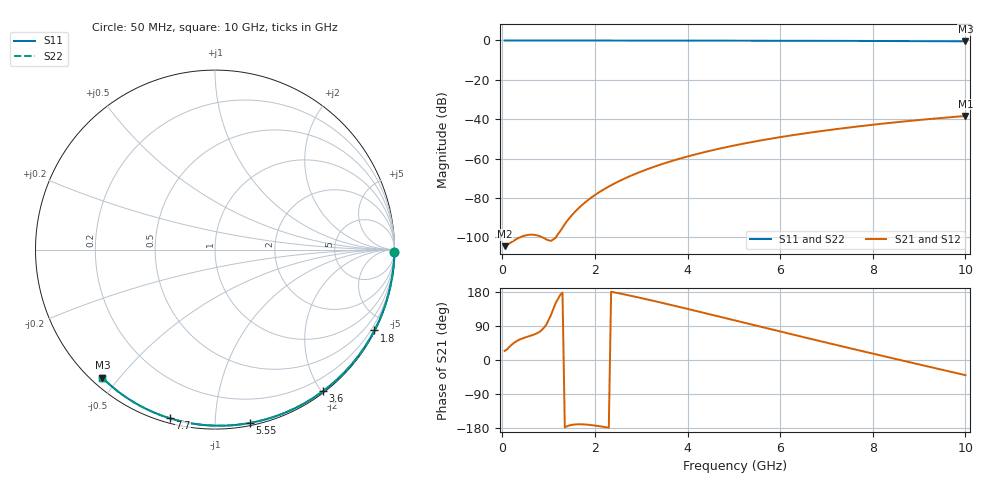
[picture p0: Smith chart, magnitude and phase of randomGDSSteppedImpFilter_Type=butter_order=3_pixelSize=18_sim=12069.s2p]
! freq	dB(S11)	phase(S11)	dB(S12)	phase(S12)
!  dB(S21)	phase(S21)	dB(S22)	phase(S22)
!S-par simulation data
#  GHz  S  DB  R 50
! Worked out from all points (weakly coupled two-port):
!   200 points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, 50 MHz to 10 GHz, reference 50 ohm
!   highest |S21| = -38.35 dB at 10 GHz (marker M1); lowest = -104.4 dB at 50 MHz (marker M2)
!   lowest |S11| = -0.4 dB at 10 GHz (marker M3), VSWR 39.25, Z = 1.53 - j22.6 ohm
!   |S11| at or under -10 dB: nowhere
!   |S22| runs from -0.4 to 0.0 dB; largest |S21 - S12| = 0
!   S11 on the Smith chart (normalised r, x): 50 MHz: open; 1.8 GHz: 0.04, -4.18; 3.6 GHz: 0.02, -2.02; 5.55 GHz: 0.02, -1.22; 7.7 GHz: 0.02, -0.77; 10 GHz: 0.03, -0.45
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0.05  -0.00 -0.8  -104.41 24.1  -104.41 24.1  -0.00 -0.8
0.45  -0.01 -6.8  -99.30 57.6  -99.30 57.6  -0.01 -6.8
0.9  -0.02 -13.6  -100.36 85.3  -100.36 85.3  -0.02 -13.6
1.3  -0.02 -19.5  -94.98 177.8  -94.98 177.8  -0.02 -19.5
1.75  -0.03 -26.2  -82.94 -169.9  -82.94 -169.9  -0.03 -26.2
1.8  -0.03 -26.9  -81.95 -170.3  -81.95 -170.3  -0.03 -26.9
1.9  -0.04 -28.4  -80.14 -171.4  -80.14 -171.4  -0.04 -28.4
2.25  -0.04 -33.5  -74.79 -177.8  -74.79 -177.8  -0.04 -33.5
2.55  -0.05 -37.8  -71.09 175.2  -71.09 175.2  -0.05 -37.8
2.95  -0.06 -43.5  -66.97 164.8  -66.97 164.8  -0.06 -43.5
3.4  -0.07 -49.8  -63.12 152.3  -63.12 152.3  -0.07 -49.8
3.6  -0.07 -52.6  -61.61 146.6  -61.61 146.6  -0.07 -52.6
3.9  -0.08 -56.7  -59.53 137.8  -59.53 137.8  -0.08 -56.7
4.3  -0.09 -62.2  -57.05 126.0  -57.05 126.0  -0.09 -62.2
5.05  -0.11 -72.1  -53.10 103.6  -53.10 103.6  -0.11 -72.1
5.55  -0.13 -78.6  -50.87 88.7  -50.87 88.7  -0.13 -78.6
6.1  -0.15 -85.5  -48.69 72.3  -48.69 72.3  -0.15 -85.5
6.7  -0.18 -92.9  -46.59 54.6  -46.59 54.6  -0.18 -92.9
7.7  -0.24 -104.9  -43.58 25.5  -43.58 25.5  -0.24 -104.9
8.35  -0.29 -112.5  -41.89 6.8  -41.89 6.8  -0.29 -112.5
9.15  -0.36 -121.7  -40.04 -16.0  -40.04 -16.0  -0.36 -121.7
10  -0.44 -131.3  -38.35 -40.0  -38.35 -40.0  -0.44 -131.3
